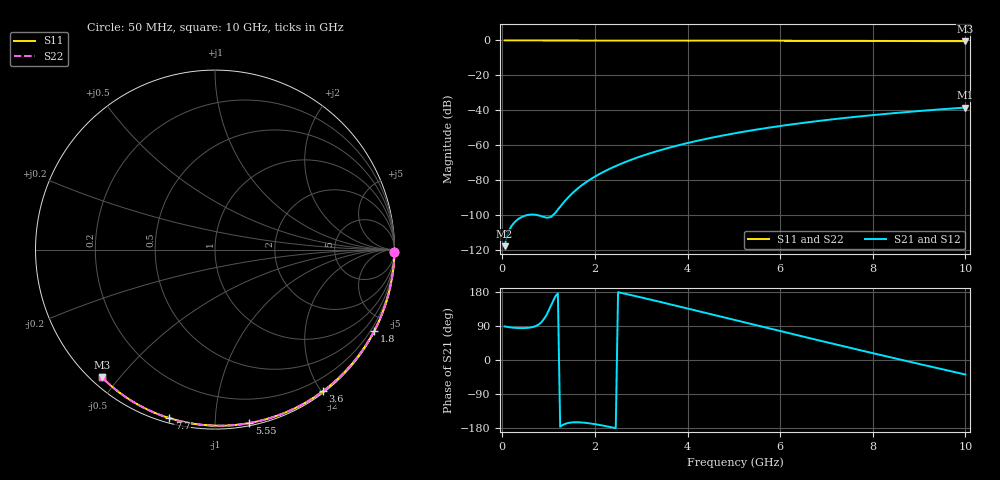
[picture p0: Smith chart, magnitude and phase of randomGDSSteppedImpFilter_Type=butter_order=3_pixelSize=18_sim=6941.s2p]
! freq	dB(S11)	phase(S11)	dB(S12)	phase(S12)
!  dB(S21)	phase(S21)	dB(S22)	phase(S22)
!S-par simulation data
#  GHz  S  DB  R 50
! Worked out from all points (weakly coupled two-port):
!   200 points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, 50 MHz to 10 GHz, reference 50 ohm
!   highest |S21| = -38.46 dB at 10 GHz (marker M1); lowest = -117.9 dB at 50 MHz (marker M2)
!   lowest |S11| = -0.4 dB at 10 GHz (marker M3), VSWR 39.08, Z = 1.54 - j22.4 ohm
!   |S11| at or under -10 dB: nowhere
!   |S22| runs from -0.4 to 0.0 dB; largest |S21 - S12| = 0
!   S11 on the Smith chart (normalised r, x): 50 MHz: open; 1.8 GHz: 0.04, -4.17; 3.6 GHz: 0.02, -2.02; 5.55 GHz: 0.02, -1.22; 7.7 GHz: 0.02, -0.76; 10 GHz: 0.03, -0.45
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0.05  -0.00 -0.8  -117.89 88.6  -117.89 88.6  -0.00 -0.8
0.9  -0.02 -13.6  -101.22 108.4  -101.22 108.4  -0.02 -13.6
1.75  -0.03 -26.2  -82.35 -165.2  -82.35 -165.2  -0.03 -26.2
1.8  -0.03 -27.0  -81.41 -165.9  -81.41 -165.9  -0.03 -27.0
1.85  -0.04 -27.7  -80.51 -166.6  -80.51 -166.6  -0.04 -27.7
1.9  -0.04 -28.4  -79.65 -167.4  -79.65 -167.4  -0.04 -28.4
2.05  -0.04 -30.6  -77.26 -170.3  -77.26 -170.3  -0.04 -30.6
2.25  -0.04 -33.6  -74.44 -174.8  -74.44 -174.8  -0.04 -33.6
2.45  -0.05 -36.4  -71.96 -179.8  -71.96 -179.8  -0.05 -36.4
2.65  -0.05 -39.3  -69.73 174.9  -69.73 174.9  -0.05 -39.3
3  -0.06 -44.3  -66.31 165.1  -66.31 165.1  -0.06 -44.3
3.4  -0.07 -50.0  -62.97 153.6  -62.97 153.6  -0.07 -50.0
3.6  -0.07 -52.7  -61.48 147.7  -61.48 147.7  -0.07 -52.7
4.3  -0.09 -62.3  -56.97 127.0  -56.97 127.0  -0.09 -62.3
5.05  -0.11 -72.3  -53.04 104.6  -53.04 104.6  -0.11 -72.3
5.55  -0.13 -78.8  -50.81 89.7  -50.81 89.7  -0.13 -78.8
6.1  -0.15 -85.8  -48.64 73.4  -48.64 73.4  -0.15 -85.8
6.7  -0.18 -93.2  -46.55 55.7  -46.55 55.7  -0.18 -93.2
7.7  -0.24 -105.2  -43.57 26.7  -43.57 26.7  -0.24 -105.2
8.35  -0.29 -112.8  -41.91 8.1  -41.91 8.1  -0.29 -112.8
9.15  -0.36 -122.0  -40.11 -14.6  -40.11 -14.6  -0.36 -122.0
10  -0.44 -131.7  -38.46 -38.4  -38.46 -38.4  -0.44 -131.7
